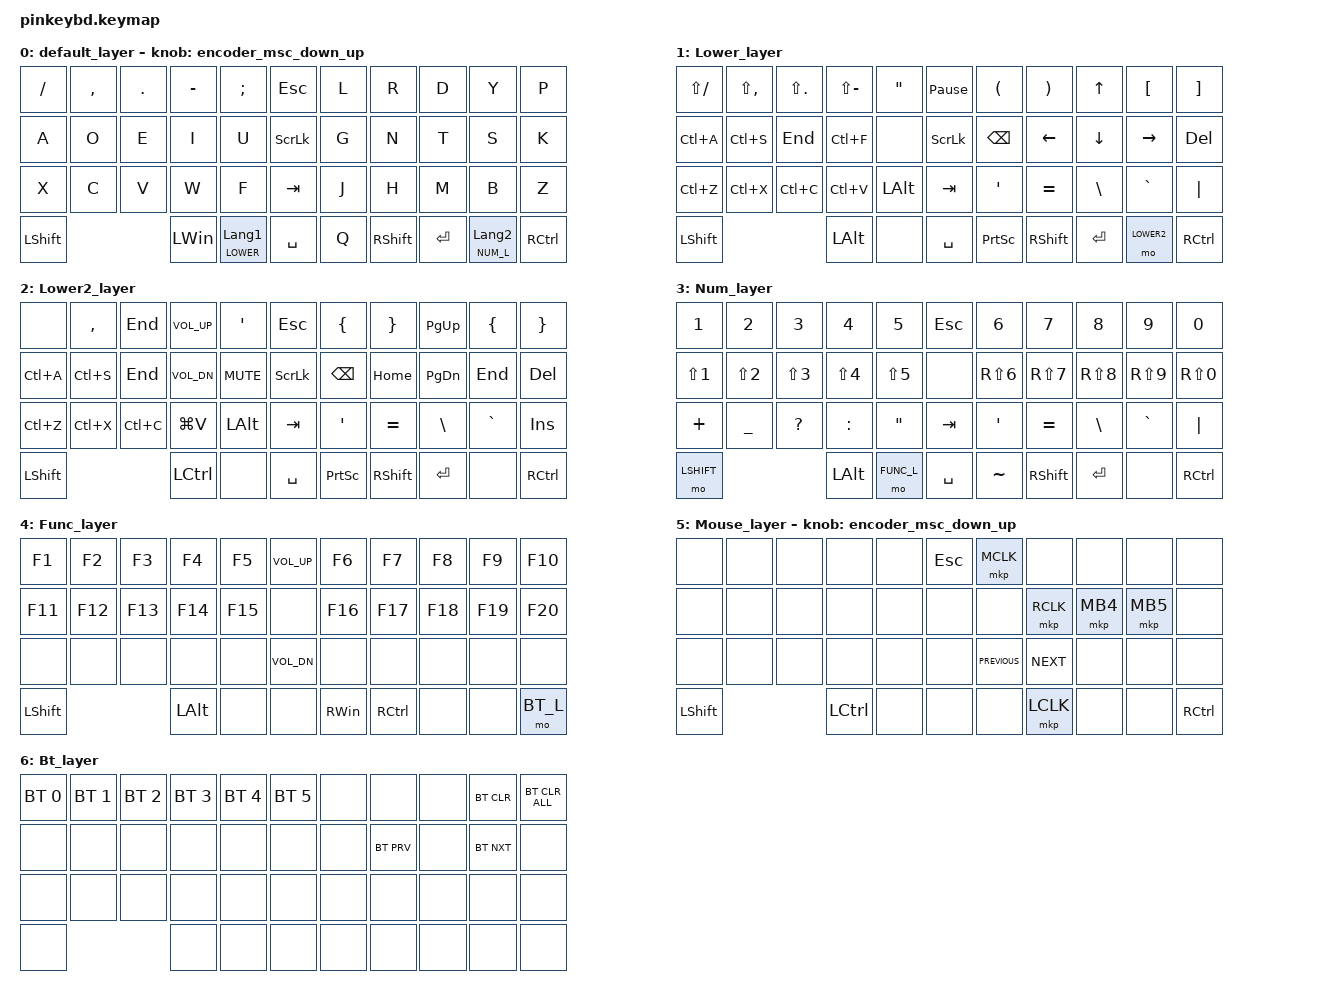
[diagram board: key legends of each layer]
#include <behaviors.dtsi>
#include <dt-bindings/zmk/bt.h>
#include "pinkeybd-layer.dtsi"
#include <dt-bindings/zmk/pointing.h>
#include <input/processors.dtsi>

#include "pinkeybd-layouts.dtsi"

#define ZMK_POINTING_DEFAULT_SCRL_VAL 150

&lt {
    tapping-term-ms = <140>;
};

&mkp_input_listener {
    input-processors = <&zip_temp_layer 5 300>;
};

&kscan0 {
    debounce-press-ms = <1>;
    debounce-release-ms = <5>;
};

/ {
    behaviors {
        encoder_msc_down_up: encoder_msc_down_up {
            compatible = "zmk,behavior-sensor-rotate";
            label = "ENCODER_MSC_DOWN_UP";
            #sensor-binding-cells = <0>;
            bindings = <&msc SCRL_DOWN>, <&msc SCRL_UP>;
            tap-ms = <20>;
        };

        my_lt: layer_tap {
            compatible = "zmk,behavior-hold-tap";
            #binding-cells = <2>;
            flavor = "tap-preferred";
            tapping-term-ms = <250>;
            bindings = <&mo>, <&kp>;
            display-name = "Layer-Tap";
        };
    };

    keymap {
        compatible = "zmk,keymap";

            // ---------------------------------------------------------------------------------------------------------------------------------------------------------------------------------------------------------------
            // |        /       |       ,       |       .       |      -        |      ;       |    ESC         |                   |           |       L      |       R       |       D       |       Y       |      P      |
            // |        A       |       O       |       E       |      I        |      U       |    SCROLLLOCK  |                   |           |       G      |       N       |       T       |       S       |      K      |
            // |        X       |       C       |       V       |      W        |      F       |    TAB         |                   |     Q     |       J      |       H       |       M       |       B       |      Z      |
            // |    L_SHIFT     |               |               |    Space      |   LOWER / Jp |    LEFT_WIN    |                   |  R_SHIFT  |      ENTER   |   NUM_L / Ja  |               |               |   RCTRL     |
            // ---------------------------------------------------------------------------------------------------------------------------------------------------------------------------------------------------------------
        default_layer {
            bindings = <
                &kp FSLH     &kp COMMA    &kp DOT      &kp MINUS    &kp SEMI              &kp ESC                            &kp L        &kp R        &kp D        &kp Y        &kp P
                &kp A        &kp O        &kp E        &kp I        &kp U                 &kp SCROLLLOCK                     &kp G        &kp N        &kp T        &kp S        &kp K
                &kp X        &kp C        &kp V        &kp W        &kp F                 &kp TAB                            &kp J        &kp H        &kp M        &kp B        &kp Z
                &kp LSHIFT                             &kp LEFT_WIN &my_lt LOWER LANGUAGE_1 &kp SPACE             &kp Q      &kp RSHIFT   &kp ENTER    &my_lt NUM_L LANGUAGE_2   &kp RCTRL
            >;
            sensor-bindings = <&encoder_msc_down_up>;
        };
            // ---------------------------------------------------------------------------------------------------------------------------------------------------------------------------------------------------------------
            // |    /           |       <       |       >       |       _       |      ”        |    PAUSE_BREAK|                  |            |      （       |       ）     |        ↑      |        [      |    ]        |
            // |    LC(A)       |       LC(S)   |       END     |       LS(F)   |       U       |    SCROLLLOCK |                  |            |   Backspace   |       ←      |        ↓      |        →      |    DEL      |
            // |    UNDERSCORE  |       CUT     |       COPY    |       PASTE   |       LALT    |    TAB        |                  |   PSCRN    |    ' / "      |    = / +     |    \ / |      |    ` / ~      |    PIPE     |
            // |    L_SHIFT     |               |               |       LALT    |       none    |    SPACE      |                  |   RSHIFT   |   ENTER       |    LOWER2    |               |               |    RCTRL    |
            // ---------------------------------------------------------------------------------------------------------------------------------------------------------------------------------------------------------------
        Lower_layer {
            bindings = <
                &kp LS(FSLH)    &kp LS(COMMA)   &kp LS(DOT)     &kp LS(MINUS)   &kp DOUBLE_QUOTES   &kp PAUSE_BREAK                 &kp LPAR          &kp RPAR      &kp UP       &kp LBKT     &kp RBKT
                &kp LC(A)       &kp LC(S)       &kp END         &kp LC(F)       &none               &kp SCROLLLOCK                  &kp BSPC          &kp LEFT      &kp DOWN     &kp RIGHT    &kp DEL
                &kp LC(Z)       &kp LC(X)       &kp LC(C)       &kp LC(V)       &kp LALT            &kp TAB                         &kp APOS          &kp EQUAL     &kp BSLH     &kp GRAVE    &kp PIPE
                &kp LSHIFT                                      &kp LALT        &none               &kp SPACE           &kp PSCRN   &kp RSHIFT        &kp ENTER     &mo LOWER2                &kp RCTRL
            >;  
        };
            // --------------------------------------------------------------------------------------------------------------------------------------------------------------------------------------------------------------
            // |    /           |       ,        |       END     |      C_VOL_UP    |       ’      |    ESC        |                  |            |      {      |      }         |    PG_UP      |     {       |      }    |
            // |    HOME        |       C_SAVE   |       END     |      C_VOL_DN    |   C_MUTE     |    SCROLLLOCK |                  |            |  Backspace  |    HOME        |    PG_DN      |    END      |   DEL     |
            // |    UNDO        |       CUT      |       COPY    |      WIN_PASTE   |       Q      |    TAB        |                  |   PSCRN    |    ' / "    |    = / +       |    \ / |      |    ` / ~    |   INS     |
            // |    L_SHIFT     |                |               |      LCTRL       |       none   |    SPACE      |                  |   ENTER    |    none     |   R_SHIFT      |               |             |   RCTRL   |
            // --------------------------------------------------------------------------------------------------------------------------------------------------------------------------------------------------------------
        Lower2_layer {
            bindings = <
                &none        &kp COMMA    &kp END      &kp C_VOL_UP         &kp SINGLE_QUOTE    &kp ESC                             &kp LEFT_BRACE  &kp RIGHT_BRACE &kp PG_UP       &kp LBRC       &kp RBRC
                &kp LC(A)    &kp LC(S)    &kp END      &kp C_VOL_DN         &kp C_MUTE          &kp SCROLLLOCK                      &kp BSPC        &kp HOME        &kp PG_DN       &kp END        &kp DEL
                &kp LC(Z)    &kp LC(X)    &kp LC(C)    &kp LG(V)            &kp LALT            &kp TAB                             &kp APOS        &kp EQUAL       &kp BSLH        &kp GRAVE      &kp INS
                &kp LSHIFT                             &kp LCTRL            &none               &kp SPACE               &kp PSCRN   &kp RSHIFT      &kp ENTER       &none                          &kp RCTRL
            >;
        };
            // --------------------------------------------------------------------------------------------------------------------------------------------------------------------------------------------------------------
            // |        1       |      2        |       3       |       4       |       5       |    ESC        |               |            |      6       |      7        |       8       |       9       |       0       |
            // |        !       |      @        |       #       |       $       |       %       |    none       |               |            |      ^       |      &        |       *       |       (       |       )       | 
            // |    PLUS        |   UNDERSCORE  |   QUESTION    |    COLON      |       DQT     |    TAB        |               |   TILDE    |    ' / "     |    = / +      |    \ / |      |    ` / ~      |       PIPE    |
            // |    L_SHIFT     |               |               |    LALT       |   Func_layer  |    SPACE      |               |   R_SHIFT  |      ENTER   |     none      |               |               |       RCTRL   |
            // --------------------------------------------------------------------------------------------------------------------------------------------------------------------------------------------------------------
        Num_layer {
            bindings = <
                &kp N1       &kp N2       &kp N3       &kp N4       &kp N5      &kp ESC                         &kp N6       &kp N7      &kp N8     &kp N9      &kp N0
                &kp LS(N1)   &kp LS(N2)   &kp LS(N3)   &kp LS(N4)   &kp LS(N5)  &none                           &kp RS(N6)   &kp RS(N7)  &kp RS(N8) &kp RS(N9)  &kp RS(N0)
                &kp PLUS     &kp UNDER    &kp QMARK    &kp COLON    &kp DQT     &kp TAB                         &kp APOS     &kp EQUAL   &kp BSLH   &kp GRAVE   &kp PIPE
                &mo LSHIFT                             &kp LALT     &mo FUNC_L  &kp SPACE            &kp TILDE  &kp RSHIFT   &kp ENTER   &none                  &kp RCTRL
            >;
        };
            // ------------------------------------------------------------------------------------------------------------------------------------------------------------------------------------
            // |     F1      |     F2     |     F3     |     F4     |    F5      |    C_VOL_UP  |                |            |    F6      |    F7      |    F8      |    F9       |     F10      |
            // |     F11     |     F12    |     F13    |     F14    |    F15     |    none      |                |            |    F16     |    F17     |    F18     |    F19      |     F20      |
            // |     none    |    none    |    none    |    none    |   none     |    C_VOL_DN  |                | RIGHT_WIN  |    none    |    none    |    none    |    none     |     none     |
            // |     L_SHIFT |            |            |    LALT    |   none     |    none      |                |   RCTRL    |    none    |    none    |            |             |  Bt_layer    |
            // ------------------------------------------------------------------------------------------------------------------------------------------------------------------------------------
        Func_layer {
            bindings = <
                &kp F1       &kp F2       &kp F3       &kp F4        &kp F5      &kp C_VOL_UP                   &kp F6       &kp F7       &kp F8     &kp F9      &kp F10
                &kp F11      &kp F12      &kp F13      &kp F14       &kp F15     &none                          &kp F16      &kp F17      &kp F18    &kp F19     &kp F20
                &none        &none        &none        &none         &none       &kp C_VOL_DN                   &none        &none        &none      &none       &none
                &kp LSHIFT                             &kp LALT      &none       &none          &kp RIGHT_WIN   &kp RCTRL    &none        &none                  &mo BT_L
            >;
        };
            // --------------------------------------------------------------------------------------------------------------------------------------------------------------------------------
            // |    none    |    none    |    none    |    none    |   none     |    ESC     |                  |            |    MCLK    |    none    |    none    |   none     |    none    |
            // |    none    |    none    |    none    |    none    |   none     |    none    |                  |            |    none    |    RCLK    |    MB4     |   MB5      |    none    |
            // |    none    |    none    |    none    |    none    |   none     |    none    |                  | C_PREVIOUS |    C_NEXT  |    none    |    none    |   none     |    none    |
            // |    L_SHIFT |            |            |    none    |   none     |    none    |                  |    LCLK    |    none    |    none    |            |            |    RCTRL   |
            // --------------------------------------------------------------------------------------------------------------------------------------------------------------------------------
        Mouse_layer {
            bindings = <
                &none       &none        &none        &none         &none        &kp ESC                       &mkp MCLK        &none        &none        &none        &none
                &none       &none        &none        &none         &none        &none                         &none            &mkp RCLK    &mkp MB4     &mkp MB5     &none
                &none       &none        &none        &none         &none        &none                         &kp C_PREVIOUS   &kp C_NEXT   &none        &none        &none
                &kp LSHIFT                            &kp LCTRL     &none        &none             &none       &mkp LCLK        &none        &none                     &kp RCTRL
            >;
            sensor-bindings = <&encoder_msc_down_up>;
        };
            // --------------------------------------------------------------------------------------------------------------------------------------------------------------------------------
            // |  BT_SEL 0  |  BT_SEL 1  |  BT_SEL 2  |  BT_SEL 3  |            |            |                  |            |    none    |    none    |    none    |   BT_CLR   | BT_CLR_ALL |
            // |    none    |    none    |    none    |    none    |   none     |    none    |                  |    none    |    none    |   BT_PRV   |    none    |   BT_NXT   |    none    |
            // |    none    |    none    |    none    |    none    |   none     |    none    |                  |    none    |    none    |    none    |    none    |   none     |    none    |
            // |    none    |            |            |    none    |   none     |    none    |                  |    none    |    none    |    none    |            |            |    none    |
            // --------------------------------------------------------------------------------------------------------------------------------------------------------------------------------
        Bt_layer {
            bindings = <
                &bt BT_SEL 0 &bt BT_SEL 1 &bt BT_SEL 2 &bt BT_SEL 3  &bt BT_SEL 4 &bt BT_SEL 5                  &none        &none        &none        &bt BT_CLR   &bt BT_CLR_ALL
                &none        &none        &none        &none         &none        &none                         &none        &bt BT_PRV   &none        &bt BT_NXT   &none
                &none        &none        &none        &none         &none        &none                         &none        &none        &none        &none        &none
                &none                                  &none         &none        &none             &none       &none        &none        &none                     &none
            >;
        };
    };
};
